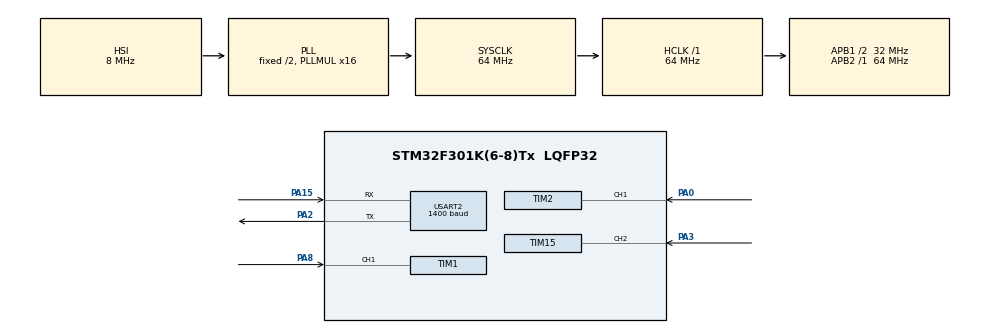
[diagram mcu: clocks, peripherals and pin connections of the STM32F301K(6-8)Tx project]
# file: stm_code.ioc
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Dma.Request0=USART2_TX
Dma.USART2_TX.0.Direction=DMA_MEMORY_TO_PERIPH
Dma.USART2_TX.0.Instance=DMA1_Channel7
Dma.USART2_TX.0.MemDataAlignment=DMA_MDATAALIGN_BYTE
Dma.USART2_TX.0.MemInc=DMA_MINC_ENABLE
Dma.USART2_TX.0.Mode=DMA_CIRCULAR
Dma.USART2_TX.0.PeriphDataAlignment=DMA_PDATAALIGN_BYTE
Dma.USART2_TX.0.PeriphInc=DMA_PINC_DISABLE
Dma.USART2_TX.0.Priority=DMA_PRIORITY_LOW
Mcu.Family=STM32F3
Mcu.Name=STM32F301K(6-8)Tx
Mcu.Package=LQFP32
NVIC.DMA1_Channel7_IRQn=true\:0\:0\:false\:false\:true\:false\:true\:true
NVIC.PriorityGroup=NVIC_PRIORITYGROUP_4
PA0.Signal=S_TIM2_CH1_ETR
PA15.Mode=Asynchronous
PA15.Signal=USART2_RX
PA2.Mode=Asynchronous
PA2.Signal=USART2_TX
PA3.Signal=S_TIM15_CH2
PA8.Signal=S_TIM1_CH1
ProjectManager.HeapSize=0x200
ProjectManager.StackSize=0x400
ProjectManager.TargetToolchain=STM32CubeIDE
RCC.AHBFreq_Value=64000000
RCC.APB1CLKDivider=RCC_HCLK_DIV2
RCC.APB1Freq_Value=32000000
RCC.APB1TimFreq_Value=64000000
RCC.APB2Freq_Value=64000000
RCC.APB2TimFreq_Value=64000000
RCC.CortexFreq_Value=64000000
RCC.HCLKFreq_Value=64000000
RCC.HSE_VALUE=8000000
RCC.HSI_VALUE=8000000
RCC.PLLMUL=RCC_PLL_MUL16
RCC.SYSCLKFreq_VALUE=64000000
RCC.SYSCLKSourceVirtual=RCC_SYSCLKSOURCE_PLLCLK
SH.S_TIM15_CH2.0=TIM15_CH2,Input_Capture2_from_TI2
SH.S_TIM15_CH2.1=TIM15_CH2,TriggerSource_TI2FP2
SH.S_TIM1_CH1.0=TIM1_CH1,Input_Capture1_from_TI1
SH.S_TIM1_CH1.1=TIM1_CH1,TriggerSource_TI1FP1
SH.S_TIM2_CH1_ETR.0=TIM2_CH1,Input_Capture1_from_TI1
SH.S_TIM2_CH1_ETR.1=TIM2_CH1,TriggerSource_TI1FP1
TIM1.Channel-Input_Capture1_from_TI1=TIM_CHANNEL_1
TIM1.ICPrescaler-Input_Capture1_from_TI1=TIM_ICPSC_DIV8
TIM1.Prescaler=0
TIM15.Channel-Input_Capture2_from_TI2=TIM_CHANNEL_2
TIM15.ICPrescaler-Input_Capture2_from_TI2=TIM_ICPSC_DIV8
TIM15.Prescaler=0
TIM2.Channel-Input_Capture1_from_TI1=TIM_CHANNEL_1
TIM2.ICPrescaler-Input_Capture1_from_TI1=TIM_ICPSC_DIV8
TIM2.Period=0xffff
TIM2.Prescaler=0
USART2.BaudRate=1400
USART2.VirtualMode-Asynchronous=VM_ASYNC
VP_TIM15_VS_ClockSourceINT.Mode=Internal
VP_TIM15_VS_ControllerModeReset.Mode=Reset Mode
VP_TIM1_VS_ClockSourceINT.Mode=Internal
VP_TIM1_VS_ControllerModeReset.Mode=Reset Mode
VP_TIM2_VS_ClockSourceINT.Mode=Internal
VP_TIM2_VS_ControllerModeReset.Mode=Reset Mode
board=custom

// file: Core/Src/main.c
/* USER CODE BEGIN Header */
/**
  ******************************************************************************
  * @file           : main.c
  * @brief          : Main program body
  ******************************************************************************
  * @attention
  *
  * Copyright (c) 2023 STMicroelectronics.
  * All rights reserved.
  *
  * This software is licensed under terms that can be found in the LICENSE file
  * in the root directory of this software component.
  * If no LICENSE file comes with this software, it is provided AS-IS.
  *
  ******************************************************************************
  */
/* USER CODE END Header */
#include "main.h"

/* USER CODE BEGIN PTD */
#define TOTAL_VALUES 5
/* USER CODE END PTD */

TIM_HandleTypeDef htim1;
TIM_HandleTypeDef htim2;
TIM_HandleTypeDef htim15;

UART_HandleTypeDef huart2;
DMA_HandleTypeDef hdma_usart2_tx;

/* USER CODE BEGIN PV */
volatile uint8_t buffer_time[6];
int counter = 0;
volatile uint32_t measured_values_tim1[TOTAL_VALUES];
volatile uint32_t measured_values_tim2[TOTAL_VALUES];
volatile uint32_t measured_values_tim15[TOTAL_VALUES];
uint32_t timer1_avg;
uint32_t timer2_avg;
uint32_t timer15_avg;
/* USER CODE END PV */

void SystemClock_Config(void);
static void MX_GPIO_Init(void);
static void MX_DMA_Init(void);
static void MX_TIM1_Init(void);
static void MX_TIM2_Init(void);
static void MX_TIM15_Init(void);
static void MX_USART2_UART_Init(void);
/* USER CODE BEGIN PFP */
void HAL_UART_TxCpltCallback(UART_HandleTypeDef *huart);
void HAL_TIM_IC_CaptureCallback(TIM_HandleTypeDef *htim);
/* USER CODE END PFP */

int main(void)
{

  /* MCU Configuration--------------------------------------------------------*/

  /* Reset of all peripherals, Initializes the Flash interface and the Systick. */
  HAL_Init();

  /* Configure the system clock */
  SystemClock_Config();

  /* Initialize all configured peripherals */
  MX_GPIO_Init();
  MX_DMA_Init();
  MX_TIM1_Init();
  MX_TIM2_Init();
  MX_TIM15_Init();
  MX_USART2_UART_Init();
//  printf("test");
//  buffer_time[19] = '\r';
  HAL_TIM_IC_Start(&htim1, TIM_CHANNEL_1);
  HAL_TIM_IC_Start(&htim2, TIM_CHANNEL_1);
  HAL_TIM_IC_Start(&htim15, TIM_CHANNEL_2);
  buffer_time[1] = '1';
  buffer_time[3] = '2';
  buffer_time[5] = '3';
  HAL_UART_Transmit_DMA(&huart2, (uint8_t *) buffer_time, 6);
  //HAL_UART_Transmit_DMA(&huart2, (uint32_t *), 1);

  /* USER CODE END 2 */

  /* Infinite loop */
  while (1)
  {

  }
}

void SystemClock_Config(void)
{
  RCC_OscInitTypeDef RCC_OscInitStruct = {0};
  RCC_ClkInitTypeDef RCC_ClkInitStruct = {0};
  RCC_PeriphCLKInitTypeDef PeriphClkInit = {0};

  /** Initializes the RCC Oscillators according to the specified parameters
  * in the RCC_OscInitTypeDef structure.
  */
  RCC_OscInitStruct.OscillatorType = RCC_OSCILLATORTYPE_HSI;
  RCC_OscInitStruct.HSIState = RCC_HSI_ON;
  RCC_OscInitStruct.HSICalibrationValue = RCC_HSICALIBRATION_DEFAULT;
  RCC_OscInitStruct.PLL.PLLState = RCC_PLL_ON;
  RCC_OscInitStruct.PLL.PLLSource = RCC_PLLSOURCE_HSI;
  RCC_OscInitStruct.PLL.PLLMUL = RCC_PLL_MUL16;
  if (HAL_RCC_OscConfig(&RCC_OscInitStruct) != HAL_OK)
  {
    Error_Handler();
  }

  /** Initializes the CPU, AHB and APB buses clocks
  */
  RCC_ClkInitStruct.ClockType = RCC_CLOCKTYPE_HCLK|RCC_CLOCKTYPE_SYSCLK
                              |RCC_CLOCKTYPE_PCLK1|RCC_CLOCKTYPE_PCLK2;
  RCC_ClkInitStruct.SYSCLKSource = RCC_SYSCLKSOURCE_PLLCLK;
  RCC_ClkInitStruct.AHBCLKDivider = RCC_SYSCLK_DIV1;
  RCC_ClkInitStruct.APB1CLKDivider = RCC_HCLK_DIV2;
  RCC_ClkInitStruct.APB2CLKDivider = RCC_HCLK_DIV1;

  if (HAL_RCC_ClockConfig(&RCC_ClkInitStruct, FLASH_LATENCY_2) != HAL_OK)
  {
    Error_Handler();
  }
  PeriphClkInit.PeriphClockSelection = RCC_PERIPHCLK_TIM1|RCC_PERIPHCLK_TIM15;
  PeriphClkInit.Tim1ClockSelection = RCC_TIM1CLK_HCLK;
  PeriphClkInit.Tim15ClockSelection = RCC_TIM15CLK_HCLK;
  if (HAL_RCCEx_PeriphCLKConfig(&PeriphClkInit) != HAL_OK)
  {
    Error_Handler();
  }
}

static void MX_TIM1_Init(void)
{

  TIM_ClockConfigTypeDef sClockSourceConfig = {0};
  TIM_SlaveConfigTypeDef sSlaveConfig = {0};
  TIM_MasterConfigTypeDef sMasterConfig = {0};
  TIM_IC_InitTypeDef sConfigIC = {0};

  htim1.Instance = TIM1;
  htim1.Init.Prescaler = 0;
  htim1.Init.CounterMode = TIM_COUNTERMODE_UP;
  htim1.Init.Period = 65535;
  htim1.Init.ClockDivision = TIM_CLOCKDIVISION_DIV1;
  htim1.Init.RepetitionCounter = 0;
  htim1.Init.AutoReloadPreload = TIM_AUTORELOAD_PRELOAD_DISABLE;
  if (HAL_TIM_Base_Init(&htim1) != HAL_OK)
  {
    Error_Handler();
  }
  sClockSourceConfig.ClockSource = TIM_CLOCKSOURCE_INTERNAL;
  if (HAL_TIM_ConfigClockSource(&htim1, &sClockSourceConfig) != HAL_OK)
  {
    Error_Handler();
  }
  if (HAL_TIM_IC_Init(&htim1) != HAL_OK)
  {
    Error_Handler();
  }
  sSlaveConfig.SlaveMode = TIM_SLAVEMODE_RESET;
  sSlaveConfig.InputTrigger = TIM_TS_TI1FP1;
  sSlaveConfig.TriggerPolarity = TIM_INPUTCHANNELPOLARITY_RISING;
  sSlaveConfig.TriggerFilter = 0;
  if (HAL_TIM_SlaveConfigSynchro(&htim1, &sSlaveConfig) != HAL_OK)
  {
    Error_Handler();
  }
  sMasterConfig.MasterOutputTrigger = TIM_TRGO_RESET;
  sMasterConfig.MasterOutputTrigger2 = TIM_TRGO2_RESET;
  sMasterConfig.MasterSlaveMode = TIM_MASTERSLAVEMODE_DISABLE;
  if (HAL_TIMEx_MasterConfigSynchronization(&htim1, &sMasterConfig) != HAL_OK)
  {
    Error_Handler();
  }
  sConfigIC.ICPolarity = TIM_INPUTCHANNELPOLARITY_RISING;
  sConfigIC.ICSelection = TIM_ICSELECTION_DIRECTTI;
  sConfigIC.ICPrescaler = TIM_ICPSC_DIV8;
  sConfigIC.ICFilter = 0;
  if (HAL_TIM_IC_ConfigChannel(&htim1, &sConfigIC, TIM_CHANNEL_1) != HAL_OK)
  {
    Error_Handler();
  }

}

static void MX_TIM2_Init(void)
{

  TIM_ClockConfigTypeDef sClockSourceConfig = {0};
  TIM_SlaveConfigTypeDef sSlaveConfig = {0};
  TIM_MasterConfigTypeDef sMasterConfig = {0};
  TIM_IC_InitTypeDef sConfigIC = {0};

  htim2.Instance = TIM2;
  htim2.Init.Prescaler = 0;
  htim2.Init.CounterMode = TIM_COUNTERMODE_UP;
  htim2.Init.Period = 0xffff;
  htim2.Init.ClockDivision = TIM_CLOCKDIVISION_DIV1;
  htim2.Init.AutoReloadPreload = TIM_AUTORELOAD_PRELOAD_DISABLE;
  if (HAL_TIM_Base_Init(&htim2) != HAL_OK)
  {
    Error_Handler();
  }
  sClockSourceConfig.ClockSource = TIM_CLOCKSOURCE_INTERNAL;
  if (HAL_TIM_ConfigClockSource(&htim2, &sClockSourceConfig) != HAL_OK)
  {
    Error_Handler();
  }
  if (HAL_TIM_IC_Init(&htim2) != HAL_OK)
  {
    Error_Handler();
  }
  sSlaveConfig.SlaveMode = TIM_SLAVEMODE_RESET;
  sSlaveConfig.InputTrigger = TIM_TS_TI1FP1;
  sSlaveConfig.TriggerPolarity = TIM_INPUTCHANNELPOLARITY_RISING;
  sSlaveConfig.TriggerFilter = 0;
  if (HAL_TIM_SlaveConfigSynchro(&htim2, &sSlaveConfig) != HAL_OK)
  {
    Error_Handler();
  }
  sMasterConfig.MasterOutputTrigger = TIM_TRGO_RESET;
  sMasterConfig.MasterSlaveMode = TIM_MASTERSLAVEMODE_DISABLE;
  if (HAL_TIMEx_MasterConfigSynchronization(&htim2, &sMasterConfig) != HAL_OK)
  {
    Error_Handler();
  }
  sConfigIC.ICPolarity = TIM_INPUTCHANNELPOLARITY_RISING;
  sConfigIC.ICSelection = TIM_ICSELECTION_DIRECTTI;
  sConfigIC.ICPrescaler = TIM_ICPSC_DIV8;
  sConfigIC.ICFilter = 0;
  if (HAL_TIM_IC_ConfigChannel(&htim2, &sConfigIC, TIM_CHANNEL_1) != HAL_OK)
  {
    Error_Handler();
  }

}

static void MX_TIM15_Init(void)
{

  TIM_ClockConfigTypeDef sClockSourceConfig = {0};
  TIM_SlaveConfigTypeDef sSlaveConfig = {0};
  TIM_MasterConfigTypeDef sMasterConfig = {0};
  TIM_IC_InitTypeDef sConfigIC = {0};

  htim15.Instance = TIM15;
  htim15.Init.Prescaler = 0;
  htim15.Init.CounterMode = TIM_COUNTERMODE_UP;
  htim15.Init.Period = 65535;
  htim15.Init.ClockDivision = TIM_CLOCKDIVISION_DIV1;
  htim15.Init.RepetitionCounter = 0;
  htim15.Init.AutoReloadPreload = TIM_AUTORELOAD_PRELOAD_DISABLE;
  if (HAL_TIM_Base_Init(&htim15) != HAL_OK)
  {
    Error_Handler();
  }
  sClockSourceConfig.ClockSource = TIM_CLOCKSOURCE_INTERNAL;
  if (HAL_TIM_ConfigClockSource(&htim15, &sClockSourceConfig) != HAL_OK)
  {
    Error_Handler();
  }
  if (HAL_TIM_IC_Init(&htim15) != HAL_OK)
  {
    Error_Handler();
  }
  sSlaveConfig.SlaveMode = TIM_SLAVEMODE_RESET;
  sSlaveConfig.InputTrigger = TIM_TS_TI2FP2;
  sSlaveConfig.TriggerPolarity = TIM_INPUTCHANNELPOLARITY_RISING;
  sSlaveConfig.TriggerFilter = 0;
  if (HAL_TIM_SlaveConfigSynchro(&htim15, &sSlaveConfig) != HAL_OK)
  {
    Error_Handler();
  }
  sMasterConfig.MasterOutputTrigger = TIM_TRGO_RESET;
  sMasterConfig.MasterSlaveMode = TIM_MASTERSLAVEMODE_DISABLE;
  if (HAL_TIMEx_MasterConfigSynchronization(&htim15, &sMasterConfig) != HAL_OK)
  {
    Error_Handler();
  }
  sConfigIC.ICPolarity = TIM_INPUTCHANNELPOLARITY_RISING;
  sConfigIC.ICSelection = TIM_ICSELECTION_DIRECTTI;
  sConfigIC.ICPrescaler = TIM_ICPSC_DIV8;
  sConfigIC.ICFilter = 0;
  if (HAL_TIM_IC_ConfigChannel(&htim15, &sConfigIC, TIM_CHANNEL_2) != HAL_OK)
  {
    Error_Handler();
  }

}

static void MX_USART2_UART_Init(void)
{

  huart2.Instance = USART2;
  huart2.Init.BaudRate = 1400;
  huart2.Init.WordLength = UART_WORDLENGTH_8B;
  huart2.Init.StopBits = UART_STOPBITS_1;
  huart2.Init.Parity = UART_PARITY_NONE;
  huart2.Init.Mode = UART_MODE_TX_RX;
  huart2.Init.HwFlowCtl = UART_HWCONTROL_NONE;
  huart2.Init.OverSampling = UART_OVERSAMPLING_16;
  huart2.Init.OneBitSampling = UART_ONE_BIT_SAMPLE_DISABLE;
  huart2.AdvancedInit.AdvFeatureInit = UART_ADVFEATURE_NO_INIT;
  if (HAL_UART_Init(&huart2) != HAL_OK)
  {
    Error_Handler();
  }

}

static void MX_DMA_Init(void)
{

  /* DMA controller clock enable */
  __HAL_RCC_DMA1_CLK_ENABLE();

  /* DMA interrupt init */
  /* DMA1_Channel7_IRQn interrupt configuration */
  HAL_NVIC_SetPriority(DMA1_Channel7_IRQn, 0, 0);
  HAL_NVIC_EnableIRQ(DMA1_Channel7_IRQn);

}

static void MX_GPIO_Init(void)
{

  /* GPIO Ports Clock Enable */
  __HAL_RCC_GPIOA_CLK_ENABLE();

}

/* USER CODE BEGIN 4 */
void HAL_UART_TxCpltCallback(UART_HandleTypeDef *huart) {
	measured_values_tim1[counter] = TIM1->CCR1;
	measured_values_tim2[counter] = TIM2->CCR1;
	measured_values_tim15[counter] = TIM15->CCR2;
	counter++;
	if(counter >= TOTAL_VALUES)
	{
		timer1_avg = 0;
		timer2_avg = 0;
		timer15_avg = 0;
		counter = 0;

		for(int k = 0; k < TOTAL_VALUES; k++)
		{
			timer1_avg += measured_values_tim1[k];
			timer2_avg += measured_values_tim2[k];
			timer15_avg += measured_values_tim15[k];
		}
		timer1_avg /= 25;
		timer2_avg /= 25;
		timer15_avg /= 25;

		// enlevement du bruit
		if(timer1_avg > 260)
			timer1_avg -= 260;
		else
			timer1_avg = 4;
		if(timer2_avg > 320)
			timer2_avg -= 320;
		else
			timer2_avg = 4;
		if(timer15_avg > 300)
			timer15_avg -= 220;
		else
			timer15_avg = 4;

		if(timer1_avg > 255)
			timer1_avg = 255;
		if(timer2_avg > 255)
			timer2_avg = 255;
		if(timer15_avg > 255)
			timer15_avg = 255;

		buffer_time[0] = (uint8_t) timer1_avg;
		buffer_time[2] = (uint8_t) timer2_avg;
		buffer_time[4] = (uint8_t) timer15_avg;
	}

}

void HAL_TIM_IC_CaptureCallback(TIM_HandleTypeDef *htim){
	if (TIM1->SR) {
		//hello = TIM1->CCR1;
	}
}
/* USER CODE END 4 */

void Error_Handler(void)
{
  __disable_irq();
  while (1)
  {
  }
}
